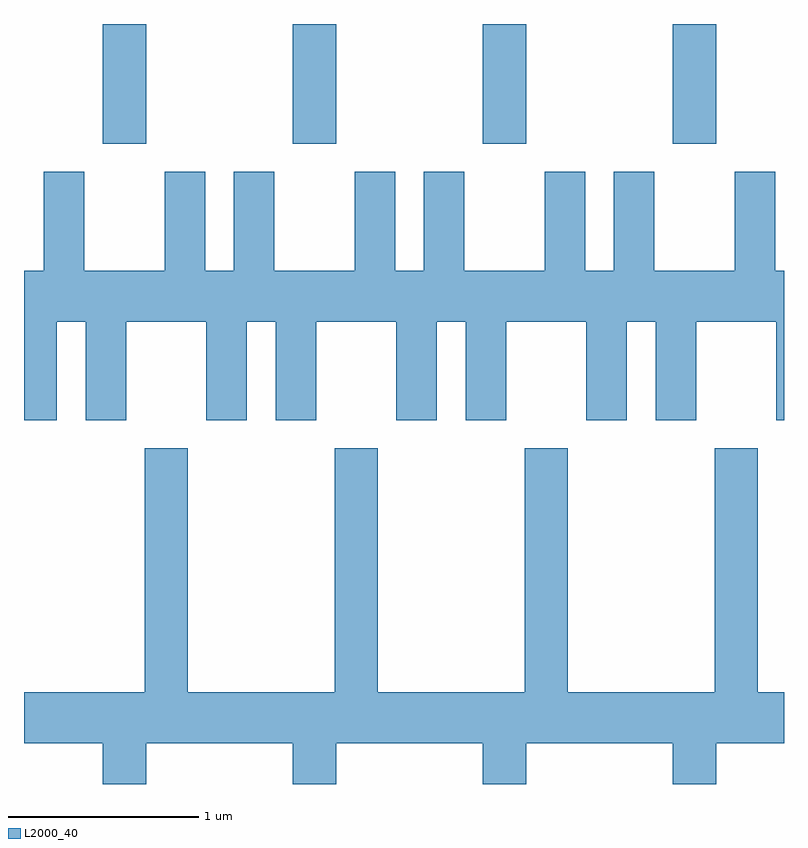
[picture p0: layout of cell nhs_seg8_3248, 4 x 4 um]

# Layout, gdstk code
import gdstk
lib = gdstk.Library(unit=1e-6, precision=1e-09)
def R(c, l, rs):  # rectangles x0, y0, x1, y1
    for r in rs: c.add(gdstk.rectangle(r[:2], r[2:], *l))
def A(c, l, x, y, w, h, nx, ny, dx, dy):  # array of equal rectangles
    R(c, l, [(x+i*dx, y+j*dy, x+i*dx+w, y+j*dy+h) for i in range(nx) for j in range(ny)])
def P(c, l, *ps):  # polygons
    for p in ps: c.add(gdstk.Polygon(p, *l))
L2000_40 = (2000, 40)

nhs_seg8_3248 = lib.new_cell('nhs_seg8_3248')
A(nhs_seg8_3248, L2000_40, 282.026, 1921.711, 0.228, 0.631, 4, 1, 1, 0)
P(nhs_seg8_3248, L2000_40, [(283.929,1921.564),(283.716,1921.564),(283.716,1921.044),(283.564,1921.044),(283.564,1921.564),(283.351,1921.564),(283.351,1921.044),(282.929,1921.044),(282.929,1921.564),(282.716,1921.564),(282.716,1921.044),(282.564,1921.044),(282.564,1921.564),(282.351,1921.564),(282.351,1921.044),(281.929,1921.044),(281.929,1921.564),(281.716,1921.564),(281.716,1921.044),(281.611,1921.044),(281.611,1920.256),(281.784,1920.256),(281.784,1920.776),(281.936,1920.776),(281.936,1920.256),(282.149,1920.256),(282.149,1920.776),(282.571,1920.776),(282.571,1920.256),(282.784,1920.256),(282.784,1920.776),(282.936,1920.776),(282.936,1920.256),(283.149,1920.256),(283.149,1920.776),(283.571,1920.776),(283.571,1920.256),(283.784,1920.256),(283.784,1920.776),(283.936,1920.776),(283.936,1920.256),(284.149,1920.256),(284.149,1920.776),(284.571,1920.776),(284.571,1920.256),(284.784,1920.256),(284.784,1920.776),(284.936,1920.776),(284.936,1920.256),(285.149,1920.256),(285.149,1920.776),(285.571,1920.776),(285.571,1920.256),(285.611,1920.256),(285.611,1921.044),(285.564,1921.044),(285.564,1921.564),(285.351,1921.564),(285.351,1921.044),(284.929,1921.044),(284.929,1921.564),(284.716,1921.564),(284.716,1921.044),(284.564,1921.044),(284.564,1921.564),(284.351,1921.564),(284.351,1921.044),(283.929,1921.044)],
  [(282.254,1918.556),(283.026,1918.556),(283.026,1918.342),(283.254,1918.342),(283.254,1918.556),(284.026,1918.556),(284.026,1918.342),(284.254,1918.342),(284.254,1918.556),(285.026,1918.556),(285.026,1918.342),(285.254,1918.342),(285.254,1918.556),(285.611,1918.556),(285.611,1918.824),(285.474,1918.824),(285.474,1920.109),(285.246,1920.109),(285.246,1918.824),(284.474,1918.824),(284.474,1920.109),(284.246,1920.109),(284.246,1918.824),(283.474,1918.824),(283.474,1920.109),(283.246,1920.109),(283.246,1918.824),(282.474,1918.824),(282.474,1920.109),(282.246,1920.109),(282.246,1918.824),(281.611,1918.824),(281.611,1918.556),(282.026,1918.556),(282.026,1918.342),(282.254,1918.342)])

lib.write_gds('nhs_seg8_3248.gds')
